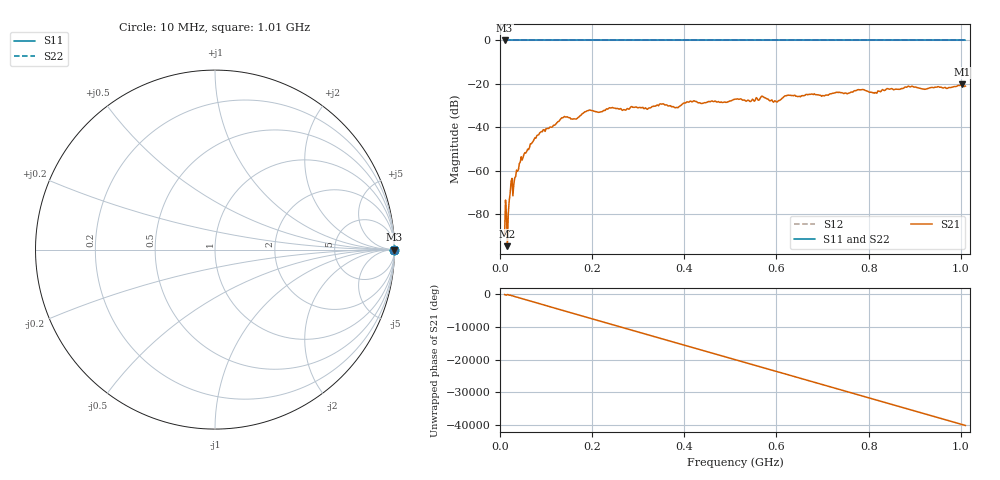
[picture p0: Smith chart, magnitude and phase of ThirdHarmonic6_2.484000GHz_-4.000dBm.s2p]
! 8/17/2025 4:39:12 AM
! C:\ANRITSUVNA\TEMP\TEMP.S2P
! CHANNEL.1
! TR.MEASUREMENT
! RAW.DATA
! RF.CORRECTION.OFF
! AVERAGING.OFF
! IF.BANDWIDTH: 5KHZ
! SWEEPTYPE:  FREQ.SWEEP(Linear)
! Reference Plane Port Info
! PORT:  PORT1  PORT2
! DISTANCE:  0  m  0  m
! TIME:  0  s  0  s
! PHASE.OFFSET:  0  deg.  0  deg.
! LOSS:  0  dB  0  dB
! REF.LOSS:  0  dB  0  dB
! REF.FREQ:  0  Hz  0  Hz
! Power Info
! POWER:  -20  dBm  -20  dBm
! EFF.POWER:  -20  dBm  -20  dBm
! SOURCE.ATTEN:  0  dB  0  dB
! TEST.ATTEN:  0  dB  0  dB
# GHZ S RI R 50.0
! FREQ.GHZ  S11RE  S11IM  S21RE  S21IM  S12RE  S12IM  S22RE  S22IM
!; PortSelection: Port_12
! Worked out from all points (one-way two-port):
!   501 points, 10 MHz to 1.01 GHz, reference 50 ohm
!   highest |S21| = -20.21 dB at 1.002 GHz (marker M1); lowest = -94.6 dB at 16 MHz (marker M2)
!   lowest |S11| = 0.0 dB at 10 MHz (marker M3)
!   |S11| at or under -10 dB: nowhere
!   |S22| runs from 0.0 to 0.0 dB; largest |S21 - S12| = 1.1
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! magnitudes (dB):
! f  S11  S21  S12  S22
! 10 MHz  0.0  -89.0  0.0  0.0
! 16 MHz  0.0  -94.6  0.0  0.0
! 18 MHz  0.0  -79.6  0.0  0.0
! 22 MHz  0.0  -70.3  0.0  0.0
! 26 MHz  0.0  -63.4  0.0  0.0
! 46 MHz  0.0  -53.5  0.0  0.0
! 78 MHz  0.0  -44.8  0.0  0.0
! 136 MHz  0.0  -35.6  0.0  0.0
! 162 MHz  0.0  -36.0  0.0  0.0
! 178 MHz  0.0  -33.7  0.0  0.0
! 344 MHz  0.0  -30.1  0.0  0.0
! 382 MHz  0.0  -30.9  0.0  0.0
! 410 MHz  0.0  -28.4  0.0  0.0
! 510 MHz  0.0  -27.0  0.0  0.0
! 570 MHz  0.0  -25.7  0.0  0.0
! 598 MHz  0.0  -27.9  0.0  0.0
! 622 MHz  0.0  -25.3  0.0  0.0
! 678 MHz  0.0  -24.7  0.0  0.0
! 814 MHz  0.0  -23.9  0.0  0.0
! 844 MHz  0.0  -22.4  0.0  0.0
! 1.002 GHz  0.0  -20.2  0.0  0.0
! 1.01 GHz  0.0  -21.0  0.0  0.0
